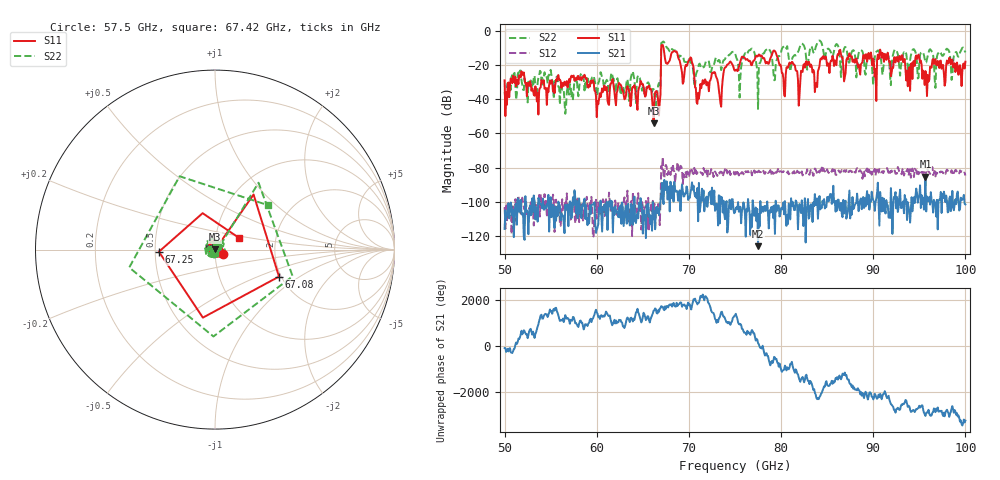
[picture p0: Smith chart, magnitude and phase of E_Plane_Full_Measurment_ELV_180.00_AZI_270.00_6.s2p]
! 11/26/2026 2:56:00 PM
! C:\ANRITSUVNA\TEMP\TEMP.S2P
! CHANNEL.1
! TR.MEASUREMENT
! RAW.DATA
# HZ S RI R 50.0
! FREQ.HZ  S11RE  S11IM  S21RE  S21IM  S12RE  S12IM  S22RE  S22IM
!; PortSelection: Port_12
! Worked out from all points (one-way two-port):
!   601 points, 50 GHz to 100 GHz, reference 50 ohm
!   highest |S21| = -85.37 dB at 95.67 GHz (marker M1); lowest = -126.0 dB at 77.5 GHz (marker M2)
!   lowest |S11| = -54.0 dB at 66.17 GHz (marker M3), VSWR 1.00, Z = 50.1 + j0.144 ohm
!   |S11| at or under -10 dB: start of sweep to 67 GHz; 67.25 GHz to end of sweep
!   |S22| runs from -48.5 to -5.6 dB; largest |S21 - S12| = 0.00021
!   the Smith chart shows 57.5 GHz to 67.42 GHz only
!   S11 on the Smith chart (normalised r, x): 57.5 GHz: 1.09, -0.05; 67.08 GHz: 1.95, -0.69; 67.25 GHz: 0.52, -0.01; 67.42 GHz: 1.29, +0.17
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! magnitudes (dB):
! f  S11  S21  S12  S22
! 50 GHz  -28.9  -115.9  -103.1  -35.7
! 51.67 GHz  -26.3  -101.4  -104.4  -23.2
! 53.42 GHz  -34.8  -103.1  -102.9  -34.8
! 57.5 GHz  -26.2  -101.9  -98.0  -34.6
! 58.42 GHz  -27.2  -101.7  -101.4  -24.8
! 60.17 GHz  -42.9  -113.1  -100.4  -30.4
! 66.17 GHz  -54.0  -109.9  -109.7  -34.1
! 66.67 GHz  -41.6  -104.0  -101.3  -31.6
! 67.08 GHz  -8.2  -89.0  -80.9  -6.8
! 67.25 GHz  -10.1  -101.4  -84.7  -6.2
! 67.42 GHz  -16.6  -92.7  -79.8  -8.3
! 70.25 GHz  -16.0  -92.4  -80.2  -18.8
! 70.92 GHz  -42.7  -92.0  -83.1  -23.2
! 75 GHz  -23.3  -106.2  -84.1  -13.0
! 77.5 GHz  -14.7  -126.0  -82.5  -45.7
! 78.5 GHz  -18.2  -99.9  -82.1  -10.8
! 79.33 GHz  -11.8  -118.9  -81.8  -28.7
! 80.25 GHz  -27.8  -100.4  -82.1  -9.3
! 83.42 GHz  -24.3  -111.9  -83.0  -10.8
! 91.67 GHz  -16.7  -109.3  -83.1  -15.2
! 95.67 GHz  -23.5  -85.4  -85.8  -18.5
! 100 GHz  -18.0  -101.6  -84.7  -12.6
